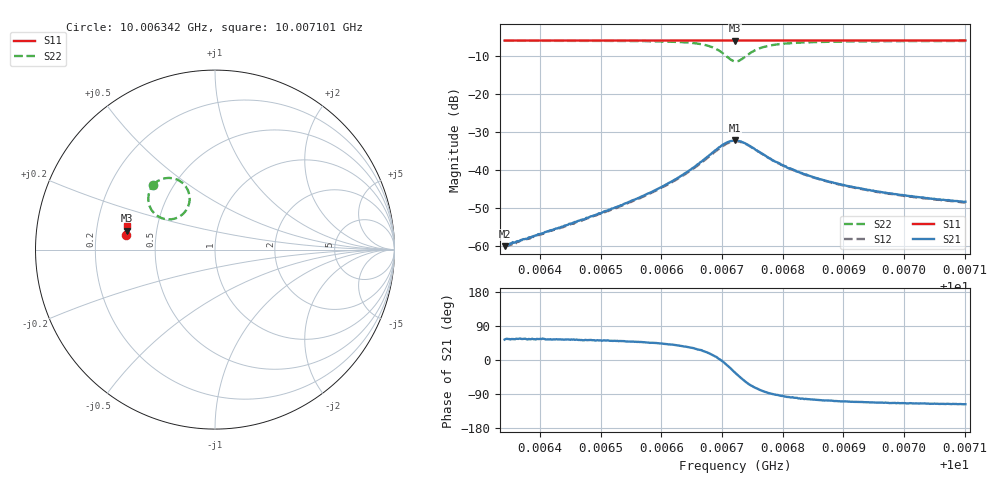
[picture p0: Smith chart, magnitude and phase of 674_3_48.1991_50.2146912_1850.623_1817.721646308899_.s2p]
#  HZ  S  RI  R  50.00
! Rohde & Schwarz Vector Network Analyzer
! Rohde-Schwarz,ZNB20-2Port,1311601062101988,3.16
! Created: UTC 3/20/2024, 12:06:16 PM
! freq[Hz]  re:S11  im:S11  re:S21  im:S21  re:S12  im:S12  re:S22  im:S22
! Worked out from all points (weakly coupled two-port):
!   401 points, 10.006342 GHz to 10.007101 GHz, reference 50 ohm
!   highest |S21| = -32.30 dB at 10.006721 GHz (marker M1); lowest = -60.2 dB at 10.006342 GHz (marker M2)
!   lowest |S11| = -6.0 dB at 10.006721 GHz (marker M3), VSWR 3.02, Z = 16.7 + j4.73 ohm
!   |S11| at or under -10 dB: nowhere
!   |S22| runs from -11.5 to -6.0 dB; largest |S21 - S12| = 0.002
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1.00063416e10  -0.4973 0.082  0.000578 0.000792  0.000501 0.000846  -0.3477 0.3594
1.00063491e10  -0.4971 0.0825  0.000584 0.000844  0.000504 0.000882  -0.3471 0.36
1.00063662e10  -0.497 0.0836  0.000637 0.000962  0.000607 0.000963  -0.3453 0.3616
1.00064688e10  -0.496 0.0905  0.00133 0.00174  0.00117 0.00177  -0.3329 0.3725
1.00065258e10  -0.4954 0.0942  0.00205 0.00246  0.00187 0.00249  -0.3217 0.3802
1.00065961e10  -0.4944 0.099  0.00409 0.00395  0.00381 0.00404  -0.2962 0.3926
1.00066378e10  -0.4936 0.1019  0.00722 0.00514  0.00669 0.00538  -0.2631 0.3991
1.00066739e10  -0.4927 0.1043  0.0134 0.00511  0.0127 0.00559  -0.2041 0.3865
1.00066891e10  -0.4919 0.1052  0.0178 0.00287  0.017 0.00377  -0.1679 0.3575
1.00067043e10  -0.4913 0.1057  0.0217 -0.00308  0.0211 -0.00141  -0.1419 0.2959
1.00067138e10  -0.4911 0.1057  0.0222 -0.00873  0.022 -0.00697  -0.1485 0.2431
1.00067214e10  -0.491 0.1057  0.0203 -0.0133  0.0208 -0.0115  -0.173 0.204
1.0006729e10  -0.491 0.1058  0.017 -0.0165  0.018 -0.0151  -0.2104 0.1778
1.00067385e10  -0.4915 0.1059  0.0121 -0.0186  0.0133 -0.0174  -0.261 0.1683
1.00067518e10  -0.4919 0.1068  0.00629 -0.0182  0.00733 -0.0176  -0.3156 0.1845
1.0006767e10  -0.4922 0.1079  0.00232 -0.016  0.00327 -0.0157  -0.3497 0.2154
1.00067879e10  -0.4923 0.1093  -0.000337 -0.0127  0.000352 -0.0127  -0.3674 0.2517
1.00068069e10  -0.4921 0.1108  -0.00139 -0.0106  -0.000653 -0.0107  -0.3715 0.2751
1.00068487e10  -0.4918 0.1137  -0.00202 -0.00781  -0.00156 -0.00783  -0.3696 0.3064
1.00069056e10  -0.491 0.1175  -0.00204 -0.00576  -0.00175 -0.00581  -0.3629 0.3287
1.00069759e10  -0.4902 0.1222  -0.00196 -0.00447  -0.00165 -0.00451  -0.3553 0.3438
1.00071013e10  -0.4883 0.1302  -0.0017 -0.00338  -0.00154 -0.0034  -0.3443 0.3596
